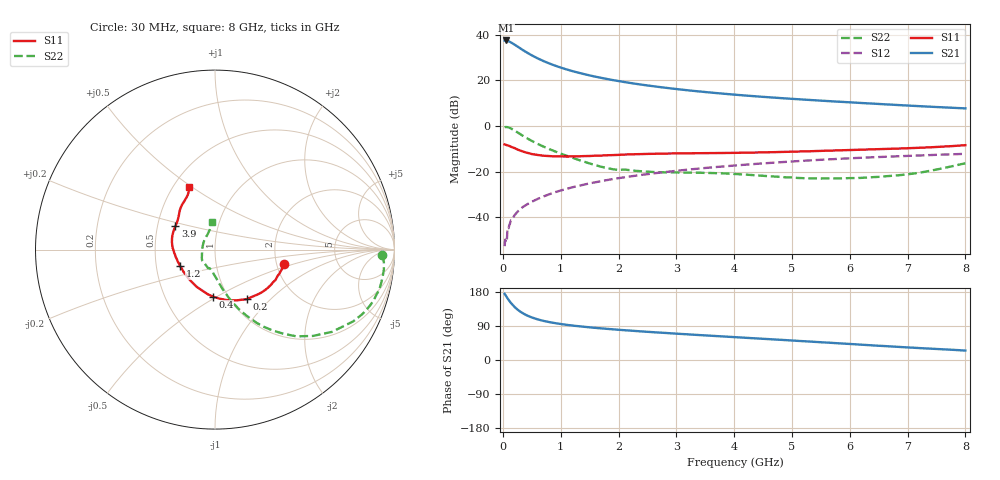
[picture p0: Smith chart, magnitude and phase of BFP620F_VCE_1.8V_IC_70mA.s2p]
! Infineon Technologies  Discrete & RF Semiconductors
! BFP620F
! VCE =  1.8 V,  IC =  70 mA
! Common Emitter S-Parameters:  Dec 2014
# GHz  S  MA  R  50
!  f  S11  S21  S12  S22
! GHz  MAG  ANG  MAG  ANG  MAG  ANG  MAG  ANG
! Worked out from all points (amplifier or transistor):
!   95 points, 30 MHz to 8 GHz, reference 50 ohm
!   highest |S21| = 37.5 dB at 50 MHz (marker M1)
!   |S21| within 3 dB of that: start of sweep to 273.2 MHz
!   unconditionally stable (mu >= 1): 1.64 GHz to end of sweep
!   at 300 MHz: K = 0.56, MSG = 35.3 dB, |S12| = -36.5 dB
!   at 3.3 GHz: K = 1.04, MAG = 16.0 dB, |S12| = -18.9 dB
!   at 8 GHz: K = 1.05, MAG = 8.6 dB, |S12| = -12.2 dB
!   S11 on the Smith chart (normalised r, x): 30 MHz: 2.20, -0.42; 200 MHz: 1.18, -0.73; 400 MHz: 0.85, -0.48; 1.2 GHz: 0.66, -0.13; 3.9 GHz: 0.62, +0.17; 8 GHz: 0.60, +0.49
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0.03  0.3934 -11.9  75.06 174.7  0.0023 97.2  0.9321 -1.8
0.05  0.3853 -18.2  75.36 169.9  0.0028 70.9  0.9476 -6.8
0.09  0.3707 -29.4  73.22 160.6  0.0059 77.7  0.9335 -15.7
0.13  0.3554 -40.8  69.27 152.3  0.0079 78.5  0.8948 -23.8
0.15  0.3461 -45.8  67.17 148.7  0.0085 78.5  0.8681 -27.4
0.2  0.3275 -57.5  61.32 140.4  0.0109 75.3  0.7969 -35.1
0.25  0.306 -67.8  55.79 133.5  0.013 73.8  0.7274 -41.4
0.3  0.2888 -76.9  50.65 127.7  0.015 72.6  0.663 -46.8
0.4  0.2618 -92.7  42.07 118.8  0.0184 72.8  0.5535 -54.5
0.5  0.242 -105.1  35.53 112.4  0.0217 72.4  0.4707 -60.3
0.6  0.2312 -116.1  30.55 107.3  0.025 71.4  0.4055 -64.7
0.7  0.2224 -124.8  26.7 103.3  0.0283 72.1  0.3541 -68.4
0.9  0.2146 -139.0  21.17 97.4  0.0351 71.9  0.2773 -74.2
1.2  0.2151 -154.7  16.06 91.0  0.045 71.0  0.2016 -81.4
1.4  0.2183 -162.6  13.81 87.7  0.0515 70.3  0.1655 -86.5
1.9  0.2295 -177.5  10.19 81.0  0.0683 68.0  0.1124 -102.6
2.7  0.2464 166.7  7.186 72.4  0.0941 63.6  0.0968 -126.4
3.9  0.2563 149.5  5.003 61.3  0.1321 56.1  0.0901 -144.1
4.1  0.2583 147.1  4.765 59.5  0.1384 54.7  0.0871 -147.1
5.4  0.2814 135.4  3.663 47.8  0.1782 45.6  0.0709 -179.9
6.7  0.3153 124.0  2.946 35.9  0.2129 35.9  0.0801 136.4
8  0.3789 112.2  2.433 24.9  0.2444 26.5  0.1519 95.5
